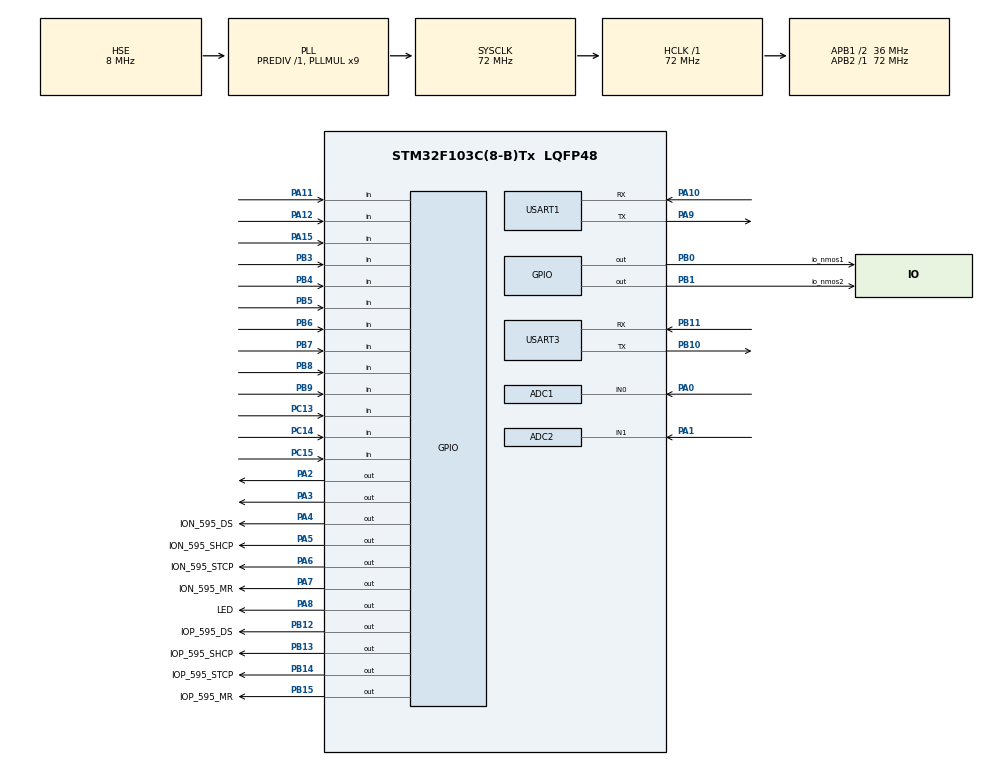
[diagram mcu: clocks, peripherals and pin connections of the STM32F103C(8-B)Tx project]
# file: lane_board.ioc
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ADC1.Channel-0\#ChannelRegularConversion=ADC_CHANNEL_0
ADC1.NbrOfConversionFlag=1
ADC1.Rank-0\#ChannelRegularConversion=1
ADC1.SamplingTime-0\#ChannelRegularConversion=ADC_SAMPLETIME_1CYCLE_5
ADC1.master=1
ADC2.Channel-0\#ChannelRegularConversion=ADC_CHANNEL_1
ADC2.NbrOfConversionFlag=1
ADC2.Rank-0\#ChannelRegularConversion=1
ADC2.SamplingTime-0\#ChannelRegularConversion=ADC_SAMPLETIME_1CYCLE_5
Dma.Request0=USART3_RX
Dma.Request1=USART3_TX
Dma.USART3_RX.0.Direction=DMA_PERIPH_TO_MEMORY
Dma.USART3_RX.0.Instance=DMA1_Channel3
Dma.USART3_RX.0.MemDataAlignment=DMA_MDATAALIGN_BYTE
Dma.USART3_RX.0.MemInc=DMA_MINC_ENABLE
Dma.USART3_RX.0.Mode=DMA_NORMAL
Dma.USART3_RX.0.PeriphDataAlignment=DMA_PDATAALIGN_BYTE
Dma.USART3_RX.0.PeriphInc=DMA_PINC_DISABLE
Dma.USART3_RX.0.Priority=DMA_PRIORITY_LOW
Dma.USART3_TX.1.Direction=DMA_MEMORY_TO_PERIPH
Dma.USART3_TX.1.Instance=DMA1_Channel2
Dma.USART3_TX.1.MemDataAlignment=DMA_MDATAALIGN_BYTE
Dma.USART3_TX.1.MemInc=DMA_MINC_ENABLE
Dma.USART3_TX.1.Mode=DMA_NORMAL
Dma.USART3_TX.1.PeriphDataAlignment=DMA_PDATAALIGN_BYTE
Dma.USART3_TX.1.PeriphInc=DMA_PINC_DISABLE
Dma.USART3_TX.1.Priority=DMA_PRIORITY_LOW
Mcu.Family=STM32F1
Mcu.Name=STM32F103C(8-B)Tx
Mcu.Package=LQFP48
NVIC.DMA1_Channel2_IRQn=true\:0\:0\:false\:false\:true\:false\:true\:true
NVIC.DMA1_Channel3_IRQn=true\:0\:0\:false\:false\:true\:false\:true\:true
NVIC.PriorityGroup=NVIC_PRIORITYGROUP_4
NVIC.TIM3_IRQn=true\:15\:0\:false\:false\:true\:false\:true\:true
NVIC.TimeBase=TIM3_IRQn
NVIC.TimeBaseIP=TIM3
NVIC.USART3_IRQn=true\:0\:0\:false\:false\:true\:false\:true\:true
PA0-WKUP.Signal=ADCx_IN0
PA1.Signal=ADCx_IN1
PA10.Mode=Asynchronous
PA10.Signal=USART1_RX
PA11.Signal=GPIO_Input
PA12.Signal=GPIO_Input
PA13.Mode=Serial_Wire
PA13.Signal=SYS_JTMS-SWDIO
PA14.Mode=Serial_Wire
PA14.Signal=SYS_JTCK-SWCLK
PA15.Signal=GPIO_Input
PA2.Signal=GPIO_Output
PA3.Signal=GPIO_Output
PA4.GPIO_Label=ION_595_DS
PA4.Signal=GPIO_Output
PA5.GPIO_Label=ION_595_SHCP
PA5.Signal=GPIO_Output
PA6.GPIO_Label=ION_595_STCP
PA6.Signal=GPIO_Output
PA7.GPIO_Label=ION_595_MR
PA7.Signal=GPIO_Output
PA8.GPIO_Label=LED
PA8.Signal=GPIO_Output
PA9.Mode=Asynchronous
PA9.Signal=USART1_TX
PB0.GPIO_Label=io_nmos1
PB0.Signal=GPIO_Output
PB1.GPIO_Label=io_nmos2
PB1.Signal=GPIO_Output
PB10.Mode=Asynchronous
PB10.Signal=USART3_TX
PB11.Mode=Asynchronous
PB11.Signal=USART3_RX
PB12.GPIO_Label=IOP_595_DS
PB12.Signal=GPIO_Output
PB13.GPIO_Label=IOP_595_SHCP
PB13.Signal=GPIO_Output
PB14.GPIO_Label=IOP_595_STCP
PB14.Signal=GPIO_Output
PB15.GPIO_Label=IOP_595_MR
PB15.Signal=GPIO_Output
PB3.Signal=GPIO_Input
PB4.Signal=GPIO_Input
PB5.Signal=GPIO_Input
PB6.Signal=GPIO_Input
PB7.Signal=GPIO_Input
PB8.Signal=GPIO_Input
PB9.Signal=GPIO_Input
PC13-TAMPER-RTC.Signal=GPIO_Input
PC14-OSC32_IN.Signal=GPIO_Input
PC15-OSC32_OUT.Signal=GPIO_Input
PD0-OSC_IN.Mode=HSE-External-Oscillator
PD0-OSC_IN.Signal=RCC_OSC_IN
PD1-OSC_OUT.Mode=HSE-External-Oscillator
PD1-OSC_OUT.Signal=RCC_OSC_OUT
ProjectManager.HeapSize=0x200
ProjectManager.StackSize=0x400
ProjectManager.TargetToolchain=CMake
RCC.ADCPresc=RCC_ADCPCLK2_DIV6
RCC.AHBFreq_Value=72000000
RCC.APB1CLKDivider=RCC_HCLK_DIV2
RCC.APB1Freq_Value=36000000
RCC.APB1TimFreq_Value=72000000
RCC.APB2Freq_Value=72000000
RCC.APB2TimFreq_Value=72000000
RCC.HCLKFreq_Value=72000000
RCC.PLLMUL=RCC_PLL_MUL9
RCC.PLLSourceVirtual=RCC_PLLSOURCE_HSE
RCC.SYSCLKFreq_VALUE=72000000
RCC.SYSCLKSource=RCC_SYSCLKSOURCE_PLLCLK
RCC.USBFreq_Value=72000000
SH.ADCx_IN0.0=ADC1_IN0,IN0
SH.ADCx_IN1.0=ADC2_IN1,IN1
USART1.VirtualMode=VM_ASYNC
USART3.VirtualMode=VM_ASYNC
VP_IWDG_VS_IWDG.Mode=IWDG_Activate
VP_SYS_VS_tim3.Mode=TIM3
board=custom

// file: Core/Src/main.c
/**
 * @file    main.c
 * @brief   应用入口 — 初始化 + 主循环
 *
 * 依赖链: main.c → service/protocol → bsp/uart,led → HAL
 */
#include "main.h"
#include "adc.h"
#include "dma.h"
#include "iwdg.h"
#include "usart.h"
#include "gpio.h"

/* USER CODE BEGIN Includes */
#include "bsp_led.h"
#include "bsp_uart.h"
#include "bsp_595.h"
#include "bsp_gpio.h"
#include "bsp_adc.h"
#include "param_store.h"
#include "protocol.h"
#include "vending.h"
/* USER CODE END Includes */

void SystemClock_Config(void);

/* USER CODE BEGIN 4 */
void HAL_UART_RxCpltCallback(UART_HandleTypeDef *huart)
{
    if (huart->Instance == USART3) {
        BSP_RS485_RxCallback(huart->pRxBuffPtr[0]);
    }
}
/* USER CODE END 4 */

int main(void)
{
    HAL_Init();
    SystemClock_Config();

    /* 外设初始化 (CubeMX 生成) */
    MX_GPIO_Init();
    MX_DMA_Init();
    MX_USART1_UART_Init();
    MX_USART3_UART_Init();
    MX_ADC1_Init();
    MX_ADC2_Init();
    MX_IWDG_Init();

    /* USER CODE BEGIN 2 */
    /* BSP 层初始化 */
    BSP_LED_Init();
    BSP_RS485_Init();
    BSP_595_Init();
    BSP_NMOS_AllOff();

    /* Service 层初始化 */
    Param_Init();
    Proto_Init();

    /* App 层初始化 */
    Vending_Init();

    /* 启动确认：LED 闪烁从机地址次数 */
    BSP_LED_Blink(Param_GetAddr(), 200);
    /* USER CODE END 2 */

    /* 主循环 */
    while (1)
    {
        /* USER CODE BEGIN 3 */
        Proto_Process();            /* 协议处理 (service 层) */
        Vending_Process();          /* 出货主流程 (app 层) */
        HAL_IWDG_Refresh(&hiwdg);
        /* USER CODE END 3 */
    }
}

void SystemClock_Config(void)
{
    RCC_OscInitTypeDef RCC_OscInitStruct = {0};
    RCC_ClkInitTypeDef RCC_ClkInitStruct = {0};
    RCC_PeriphCLKInitTypeDef PeriphClkInit = {0};

    RCC_OscInitStruct.OscillatorType = RCC_OSCILLATORTYPE_LSI|RCC_OSCILLATORTYPE_HSE;
    RCC_OscInitStruct.HSEState = RCC_HSE_ON;
    RCC_OscInitStruct.HSEPredivValue = RCC_HSE_PREDIV_DIV1;
    RCC_OscInitStruct.HSIState = RCC_HSI_ON;
    RCC_OscInitStruct.LSIState = RCC_LSI_ON;
    RCC_OscInitStruct.PLL.PLLState = RCC_PLL_ON;
    RCC_OscInitStruct.PLL.PLLSource = RCC_PLLSOURCE_HSE;
    RCC_OscInitStruct.PLL.PLLMUL = RCC_PLL_MUL9;
    if (HAL_RCC_OscConfig(&RCC_OscInitStruct) != HAL_OK) Error_Handler();

    RCC_ClkInitStruct.ClockType = RCC_CLOCKTYPE_HCLK|RCC_CLOCKTYPE_SYSCLK
                                |RCC_CLOCKTYPE_PCLK1|RCC_CLOCKTYPE_PCLK2;
    RCC_ClkInitStruct.SYSCLKSource = RCC_SYSCLKSOURCE_PLLCLK;
    RCC_ClkInitStruct.AHBCLKDivider = RCC_SYSCLK_DIV1;
    RCC_ClkInitStruct.APB1CLKDivider = RCC_HCLK_DIV2;
    RCC_ClkInitStruct.APB2CLKDivider = RCC_HCLK_DIV1;
    if (HAL_RCC_ClockConfig(&RCC_ClkInitStruct, FLASH_LATENCY_2) != HAL_OK) Error_Handler();

    PeriphClkInit.PeriphClockSelection = RCC_PERIPHCLK_ADC;
    PeriphClkInit.AdcClockSelection = RCC_ADCPCLK2_DIV6;
    if (HAL_RCCEx_PeriphCLKConfig(&PeriphClkInit) != HAL_OK) Error_Handler();
}

void HAL_TIM_PeriodElapsedCallback(TIM_HandleTypeDef *htim)
{
    if (htim->Instance == TIM3) HAL_IncTick();
}

void Error_Handler(void)
{
    __disable_irq();
    while (1) {}
}
